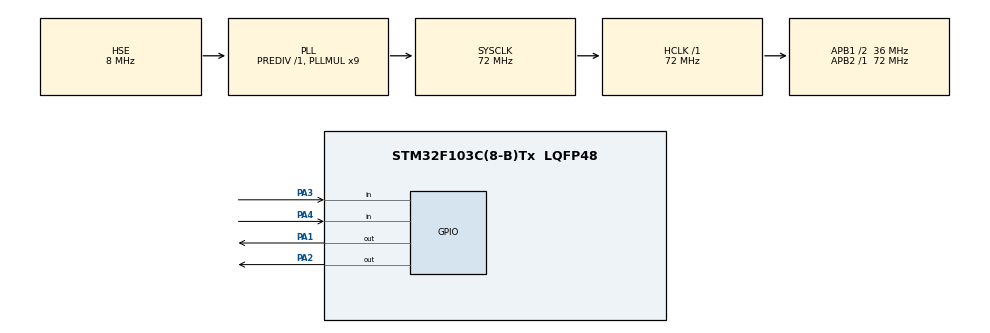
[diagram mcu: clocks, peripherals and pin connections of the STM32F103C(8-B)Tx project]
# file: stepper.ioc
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Mcu.Family=STM32F1
Mcu.Name=STM32F103C(8-B)Tx
Mcu.Package=LQFP48
NVIC.PriorityGroup=NVIC_PRIORITYGROUP_4
PA1.Signal=GPIO_Output
PA13.Mode=Serial_Wire
PA13.Signal=SYS_JTMS-SWDIO
PA14.Mode=Serial_Wire
PA14.Signal=SYS_JTCK-SWCLK
PA2.Signal=GPIO_Output
PA3.GPIO_PuPd=GPIO_PULLUP
PA3.Signal=GPIO_Input
PA4.GPIO_PuPd=GPIO_PULLUP
PA4.Signal=GPIO_Input
PD0-OSC_IN.Mode=HSE-External-Oscillator
PD0-OSC_IN.Signal=RCC_OSC_IN
PD1-OSC_OUT.Mode=HSE-External-Oscillator
PD1-OSC_OUT.Signal=RCC_OSC_OUT
ProjectManager.HeapSize=0x200
ProjectManager.StackSize=0x400
ProjectManager.TargetToolchain=STM32CubeIDE
RCC.AHBFreq_Value=72000000
RCC.APB1CLKDivider=RCC_HCLK_DIV2
RCC.APB1Freq_Value=36000000
RCC.APB1TimFreq_Value=72000000
RCC.APB2Freq_Value=72000000
RCC.APB2TimFreq_Value=72000000
RCC.HCLKFreq_Value=72000000
RCC.PLLMUL=RCC_PLL_MUL9
RCC.PLLSourceVirtual=RCC_PLLSOURCE_HSE
RCC.SYSCLKFreq_VALUE=72000000
RCC.SYSCLKSource=RCC_SYSCLKSOURCE_PLLCLK
RCC.USBFreq_Value=72000000
TIM1.Prescaler=71
VP_TIM1_VS_ClockSourceINT.Mode=Internal
board=custom

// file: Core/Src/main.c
/* USER CODE BEGIN Header */
/**
  ******************************************************************************
  * @file           : main.c
  * @brief          : Main program body
  ******************************************************************************
  * @attention
  *
  * Copyright (c) 2025 STMicroelectronics.
  * All rights reserved.
  *
  * This software is licensed under terms that can be found in the LICENSE file
  * in the root directory of this software component.
  * If no LICENSE file comes with this software, it is provided AS-IS.
  *
  ******************************************************************************
  */
/* USER CODE END Header */
#include "main.h"

TIM_HandleTypeDef htim1;

void SystemClock_Config(void);
static void MX_GPIO_Init(void);
static void MX_TIM1_Init(void);

/* USER CODE BEGIN 0 */
/* --- Pines DIR/STEP --- */
#define DIR_PIN    GPIO_PIN_1
#define DIR_PORT   GPIOA
#define STEP_PIN   GPIO_PIN_2
#define STEP_PORT  GPIOA

/* --- Botones (pull-up) --- */
#define STOP_BTN_PIN            GPIO_PIN_3   // PA3: STOP
#define STOP_BTN_PORT           GPIOA
#define START_BTN_PIN           GPIO_PIN_4   // PA4: START
#define START_BTN_PORT          GPIOA
#define BTN_PRESSED_STATE       GPIO_PIN_RESET  // con pull-up: 0 = presionado

/* Delay en us usando TIM1 a 1 MHz */
void microDelay (uint16_t delay)
{
  __HAL_TIM_SET_COUNTER(&htim1, 0);
  while (__HAL_TIM_GET_COUNTER(&htim1) < delay);
}

/* Pulso STEP (alto y bajo del mismo ancho) */
static inline void step_pulse(uint16_t d_us){
  HAL_GPIO_WritePin(STEP_PORT, STEP_PIN, GPIO_PIN_SET);
  microDelay(d_us);
  HAL_GPIO_WritePin(STEP_PORT, STEP_PIN, GPIO_PIN_RESET);
  microDelay(d_us);
}

/* Lectura con “debounce” simple: confirma transición a presionado */
static inline uint8_t button_pressed(GPIO_TypeDef* port, uint16_t pin){
  if (HAL_GPIO_ReadPin(port, pin) == BTN_PRESSED_STATE){
    HAL_Delay(20); // debounce
    if (HAL_GPIO_ReadPin(port, pin) == BTN_PRESSED_STATE) return 1;
  }
  return 0;
}

/* Espera a que el botón dado se presione y suelte (ambas con debounce) */
static void wait_press_and_release(GPIO_TypeDef* port, uint16_t pin){
  // esperar PRESION
  while (!button_pressed(port, pin)) { HAL_Delay(5); }
  // esperar SOLTAR
  while (HAL_GPIO_ReadPin(port, pin) == BTN_PRESSED_STATE) { HAL_Delay(5); }
  HAL_Delay(20); // debounce de soltado
}

/* Acelera hasta d_target, mantiene crucero en d_target y
   frena cuando se presiona el botón de STOP. */
void run_extrusion_until_stop(uint16_t d_start, uint16_t d_target, uint32_t accel_steps)
{
  if (d_start < d_target) { uint16_t t=d_start; d_start=d_target; d_target=t; }
  if (accel_steps == 0) accel_steps = 1;
  int32_t delta = (int32_t)d_start - (int32_t)d_target;

  /* --- Aceleración --- (toca d_target en el último paso) */
  for (uint32_t i = 0; i < accel_steps; i++){
    uint16_t d = d_start - (uint16_t)((delta * (int32_t)(i+1)) / (int32_t)accel_steps);
    step_pulse(d);
    // Si ya apretaron STOP durante la rampa, terminá de frenar igual:
    if (HAL_GPIO_ReadPin(STOP_BTN_PORT, STOP_BTN_PIN) == BTN_PRESSED_STATE){
      break;
    }
  }

  /* --- Crucero: delay fijo d_target hasta STOP --- */
  while (HAL_GPIO_ReadPin(STOP_BTN_PORT, STOP_BTN_PIN) != BTN_PRESSED_STATE){
    step_pulse(d_target);
  }

  /* Debounce y espera a que suelte STOP */
  HAL_Delay(20);
  while (HAL_GPIO_ReadPin(STOP_BTN_PORT, STOP_BTN_PIN) == BTN_PRESSED_STATE){
    step_pulse(d_target); // mantener suave mientras está presionado
  }
  HAL_Delay(20);

  /* --- Deceleración simétrica --- */
  for (uint32_t i = 0; i < accel_steps; i++){
    uint16_t d = d_target + (uint16_t)((delta * (int32_t)(i+1)) / (int32_t)accel_steps);
    step_pulse(d);
  }
}
/* USER CODE END 0 */

int main(void)
{
  HAL_Init();
  SystemClock_Config();
  MX_GPIO_Init();
  MX_TIM1_Init();

  /* USER CODE BEGIN 2 */
  HAL_TIM_Base_Start(&htim1);   // TIM1 a 1 MHz (1 us/tick)
  /* USER CODE END 2 */

  /* Infinite loop */
  /* USER CODE BEGIN WHILE */
  while (1)
  {
    /* 1) Esperar orden de ARRANQUE (START) */
    wait_press_and_release(START_BTN_PORT, START_BTN_PIN);

    /* 2) Elegir sentido (si querés fijo, dejá uno solo) */
    HAL_GPIO_WritePin(DIR_PORT, DIR_PIN, GPIO_PIN_SET);

    /* 3) Acelera -> CRUCERO constante -> FRENA cuando se presione STOP */
    run_extrusion_until_stop(3000, 400, 600);

    /* 4) Al terminar de frenar, volver al estado de espera de START */
    HAL_Delay(100); // pequeño respiro antes de volver a escuchar START
  }
  /* USER CODE END WHILE */

}

void SystemClock_Config(void)
{
  RCC_OscInitTypeDef RCC_OscInitStruct = {0};
  RCC_ClkInitTypeDef RCC_ClkInitStruct = {0};

  RCC_OscInitStruct.OscillatorType = RCC_OSCILLATORTYPE_HSE;
  RCC_OscInitStruct.HSEState = RCC_HSE_ON;
  RCC_OscInitStruct.HSEPredivValue = RCC_HSE_PREDIV_DIV1;
  RCC_OscInitStruct.HSIState = RCC_HSI_ON;
  RCC_OscInitStruct.PLL.PLLState = RCC_PLL_ON;
  RCC_OscInitStruct.PLL.PLLSource = RCC_PLLSOURCE_HSE;
  RCC_OscInitStruct.PLL.PLLMUL = RCC_PLL_MUL9;
  if (HAL_RCC_OscConfig(&RCC_OscInitStruct) != HAL_OK) { Error_Handler(); }

  RCC_ClkInitStruct.ClockType = RCC_CLOCKTYPE_HCLK|RCC_CLOCKTYPE_SYSCLK
                              |RCC_CLOCKTYPE_PCLK1|RCC_CLOCKTYPE_PCLK2;
  RCC_ClkInitStruct.SYSCLKSource = RCC_SYSCLKSOURCE_PLLCLK;
  RCC_ClkInitStruct.AHBCLKDivider = RCC_SYSCLK_DIV1;
  RCC_ClkInitStruct.APB1CLKDivider = RCC_HCLK_DIV2;
  RCC_ClkInitStruct.APB2CLKDivider = RCC_HCLK_DIV1;
  if (HAL_RCC_ClockConfig(&RCC_ClkInitStruct, FLASH_LATENCY_2) != HAL_OK) { Error_Handler(); }
}

static void MX_TIM1_Init(void)
{
  TIM_ClockConfigTypeDef sClockSourceConfig = {0};
  TIM_MasterConfigTypeDef sMasterConfig = {0};

  htim1.Instance = TIM1;
  htim1.Init.Prescaler = 71;                 // 72MHz/(71+1) = 1 MHz
  htim1.Init.CounterMode = TIM_COUNTERMODE_UP;
  htim1.Init.Period = 65535;
  htim1.Init.ClockDivision = TIM_CLOCKDIVISION_DIV1;
  htim1.Init.RepetitionCounter = 0;
  htim1.Init.AutoReloadPreload = TIM_AUTORELOAD_PRELOAD_DISABLE;
  if (HAL_TIM_Base_Init(&htim1) != HAL_OK) { Error_Handler(); }
  sClockSourceConfig.ClockSource = TIM_CLOCKSOURCE_INTERNAL;
  if (HAL_TIM_ConfigClockSource(&htim1, &sClockSourceConfig) != HAL_OK) { Error_Handler(); }
  sMasterConfig.MasterOutputTrigger = TIM_TRGO_RESET;
  sMasterConfig.MasterSlaveMode = TIM_MASTERSLAVEMODE_DISABLE;
  if (HAL_TIMEx_MasterConfigSynchronization(&htim1, &sMasterConfig) != HAL_OK) { Error_Handler(); }
}

static void MX_GPIO_Init(void)
{
  GPIO_InitTypeDef GPIO_InitStruct = {0};

  __HAL_RCC_GPIOD_CLK_ENABLE();
  __HAL_RCC_GPIOA_CLK_ENABLE();

  /* DIR/STEP en 0 al inicio */
  HAL_GPIO_WritePin(GPIOA, GPIO_PIN_1|GPIO_PIN_2, GPIO_PIN_RESET);

  /* PA1 (DIR) y PA2 (STEP) como salida */
  GPIO_InitStruct.Pin = GPIO_PIN_1|GPIO_PIN_2;
  GPIO_InitStruct.Mode = GPIO_MODE_OUTPUT_PP;
  GPIO_InitStruct.Pull = GPIO_NOPULL;
  GPIO_InitStruct.Speed = GPIO_SPEED_FREQ_LOW;   // si querés, poné HIGH para STEP
  HAL_GPIO_Init(GPIOA, &GPIO_InitStruct);

  /* PA3 (STOP) entrada con pull-up */
  GPIO_InitStruct.Pin = GPIO_PIN_3;
  GPIO_InitStruct.Mode = GPIO_MODE_INPUT;
  GPIO_InitStruct.Pull = GPIO_PULLUP;
  HAL_GPIO_Init(GPIOA, &GPIO_InitStruct);

  /* PA4 (START) entrada con pull-up */
  GPIO_InitStruct.Pin = GPIO_PIN_4;
  GPIO_InitStruct.Mode = GPIO_MODE_INPUT;
  GPIO_InitStruct.Pull = GPIO_PULLUP;
  HAL_GPIO_Init(GPIOA, &GPIO_InitStruct);
}

void Error_Handler(void)
{
  __disable_irq();
  while (1) { }
}
